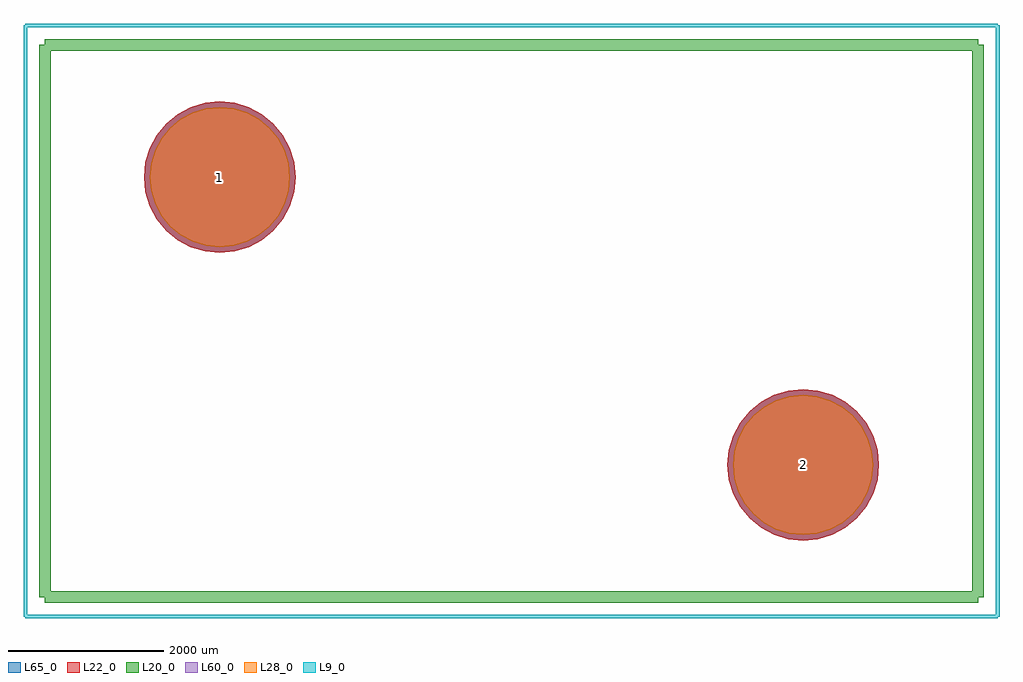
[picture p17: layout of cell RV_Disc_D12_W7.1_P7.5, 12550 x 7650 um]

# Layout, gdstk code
import gdstk
lib = gdstk.Library(unit=1e-6, precision=1e-09)
def P(c, l, *ps):  # polygons
    for p in ps: c.add(gdstk.Polygon(p, *l))
L9_0 = (9, 0)
L20_0 = (20, 0)
L22_0 = (22, 0)
L28_0 = (28, 0)
L60_0 = (60, 0)
L65_0 = (65, 0)

rv_disc_d12_w7_1_p7_5 = lib.new_cell('RV_Disc_D12_W7.1_P7.5')
P(rv_disc_d12_w7_1_p7_5, L22_0, [(8475,-3700),(8456.266,-3509.787),(8400.783,-3326.884),(8310.683,-3158.319),(8189.429,-3010.571),(8041.681,-2889.317),(7873.116,-2799.217),(7690.213,-2743.734),(7500,-2725),(7309.787,-2743.734),(7126.884,-2799.217),(6958.319,-2889.317),(6810.571,-3010.571),(6689.317,-3158.319),(6599.217,-3326.884),(6543.734,-3509.787),(6525,-3700),(6543.734,-3890.213),(6599.217,-4073.116),(6689.317,-4241.681),(6810.571,-4389.429),(6958.319,-4510.683),(7126.884,-4600.783),(7309.787,-4656.266),(7500,-4675),(7690.213,-4656.266),(7873.116,-4600.783),(8041.681,-4510.683),(8189.429,-4389.429),(8310.683,-4241.681),(8400.783,-4073.116),(8456.266,-3890.213)],
  [(975,0),(956.266,190.213),(900.783,373.116),(810.683,541.681),(689.429,689.429),(541.681,810.683),(373.116,900.783),(190.213,956.266),(0,975),(-190.213,956.266),(-373.116,900.783),(-541.681,810.683),(-689.429,689.429),(-810.683,541.681),(-900.783,373.116),(-956.266,190.213),(-975,0),(-956.266,-190.213),(-900.783,-373.116),(-810.683,-541.681),(-689.429,-689.429),(-541.681,-810.683),(-373.116,-900.783),(-190.213,-956.266),(0,-975),(190.213,-956.266),(373.116,-900.783),(541.681,-810.683),(689.429,-689.429),(810.683,-541.681),(900.783,-373.116),(956.266,-190.213)])
P(rv_disc_d12_w7_1_p7_5, L28_0, [(8400,-3700),(8382.707,-3524.419),(8331.492,-3355.585),(8248.323,-3199.987),(8136.396,-3063.604),(8000.013,-2951.677),(7844.415,-2868.508),(7675.581,-2817.293),(7500,-2800),(7324.419,-2817.293),(7155.585,-2868.508),(6999.987,-2951.677),(6863.604,-3063.604),(6751.677,-3199.987),(6668.508,-3355.585),(6617.293,-3524.419),(6600,-3700),(6617.293,-3875.581),(6668.508,-4044.415),(6751.677,-4200.013),(6863.604,-4336.396),(6999.987,-4448.323),(7155.585,-4531.492),(7324.419,-4582.707),(7500,-4600),(7675.581,-4582.707),(7844.415,-4531.492),(8000.013,-4448.323),(8136.396,-4336.396),(8248.323,-4200.013),(8331.492,-4044.415),(8382.707,-3875.581)],
  [(900,0),(882.707,175.581),(831.492,344.415),(748.323,500.013),(636.396,636.396),(500.013,748.323),(344.415,831.492),(175.581,882.707),(0,900),(-175.581,882.707),(-344.415,831.492),(-500.013,748.323),(-636.396,636.396),(-748.323,500.013),(-831.492,344.415),(-882.707,175.581),(-900,0),(-882.707,-175.581),(-831.492,-344.415),(-748.323,-500.013),(-636.396,-636.396),(-500.013,-748.323),(-344.415,-831.492),(-175.581,-882.707),(0,-900),(175.581,-882.707),(344.415,-831.492),(500.013,-748.323),(636.396,-636.396),(748.323,-500.013),(831.492,-344.415),(882.707,-175.581)])
P(rv_disc_d12_w7_1_p7_5, L60_0, [(8400,-3700),(8382.707,-3524.419),(8331.492,-3355.585),(8248.323,-3199.987),(8136.396,-3063.604),(8000.013,-2951.677),(7844.415,-2868.508),(7675.581,-2817.293),(7500,-2800),(7324.419,-2817.293),(7155.585,-2868.508),(6999.987,-2951.677),(6863.604,-3063.604),(6751.677,-3199.987),(6668.508,-3355.585),(6617.293,-3524.419),(6600,-3700),(6617.293,-3875.581),(6668.508,-4044.415),(6751.677,-4200.013),(6863.604,-4336.396),(6999.987,-4448.323),(7155.585,-4531.492),(7324.419,-4582.707),(7500,-4600),(7675.581,-4582.707),(7844.415,-4531.492),(8000.013,-4448.323),(8136.396,-4336.396),(8248.323,-4200.013),(8331.492,-4044.415),(8382.707,-3875.581)],
  [(900,0),(882.707,175.581),(831.492,344.415),(748.323,500.013),(636.396,636.396),(500.013,748.323),(344.415,831.492),(175.581,882.707),(0,900),(-175.581,882.707),(-344.415,831.492),(-500.013,748.323),(-636.396,636.396),(-748.323,500.013),(-831.492,344.415),(-882.707,175.581),(-900,0),(-882.707,-175.581),(-831.492,-344.415),(-748.323,-500.013),(-636.396,-636.396),(-500.013,-748.323),(-344.415,-831.492),(-175.581,-882.707),(0,-900),(175.581,-882.707),(344.415,-831.492),(500.013,-748.323),(636.396,-636.396),(748.323,-500.013),(831.492,-344.415),(882.707,-175.581)])
P(rv_disc_d12_w7_1_p7_5, L65_0, [(8475,-3700),(8456.266,-3509.787),(8400.783,-3326.884),(8310.683,-3158.319),(8189.429,-3010.571),(8041.681,-2889.317),(7873.116,-2799.217),(7690.213,-2743.734),(7500,-2725),(7309.787,-2743.734),(7126.884,-2799.217),(6958.319,-2889.317),(6810.571,-3010.571),(6689.317,-3158.319),(6599.217,-3326.884),(6543.734,-3509.787),(6525,-3700),(6543.734,-3890.213),(6599.217,-4073.116),(6689.317,-4241.681),(6810.571,-4389.429),(6958.319,-4510.683),(7126.884,-4600.783),(7309.787,-4656.266),(7500,-4675),(7690.213,-4656.266),(7873.116,-4600.783),(8041.681,-4510.683),(8189.429,-4389.429),(8310.683,-4241.681),(8400.783,-4073.116),(8456.266,-3890.213)],
  [(975,0),(956.266,190.213),(900.783,373.116),(810.683,541.681),(689.429,689.429),(541.681,810.683),(373.116,900.783),(190.213,956.266),(0,975),(-190.213,956.266),(-373.116,900.783),(-541.681,810.683),(-689.429,689.429),(-810.683,541.681),(-900.783,373.116),(-956.266,190.213),(-975,0),(-956.266,-190.213),(-900.783,-373.116),(-810.683,-541.681),(-689.429,-689.429),(-541.681,-810.683),(-373.116,-900.783),(-190.213,-956.266),(0,-975),(190.213,-956.266),(373.116,-900.783),(541.681,-810.683),(689.429,-689.429),(810.683,-541.681),(900.783,-373.116),(956.266,-190.213)])
rv_disc_d12_w7_1_p7_5.add(gdstk.FlexPath([(-2250,1700),(-2250,-5400)], 149.998, ends="flush", simple_path=True, layer=20, datatype=0))  # L20_0
rv_disc_d12_w7_1_p7_5.add(gdstk.FlexPath([(9750,1700),(9750,-5400)], 149.998, ends="flush", simple_path=True, layer=20, datatype=0))  # L20_0
rv_disc_d12_w7_1_p7_5.add(gdstk.FlexPath([(-2250,1700),(9750,1700)], 149.998, ends="flush", simple_path=True, layer=20, datatype=0))  # L20_0
rv_disc_d12_w7_1_p7_5.add(gdstk.FlexPath([(-2250,-5400),(9750,-5400)], 149.998, ends="flush", simple_path=True, layer=20, datatype=0))  # L20_0
rv_disc_d12_w7_1_p7_5.add(gdstk.FlexPath([(-2500,1950),(-2500,-5650)], 50, ends="flush", simple_path=True, layer=9, datatype=0))  # L9_0
rv_disc_d12_w7_1_p7_5.add(gdstk.FlexPath([(10000,1950),(10000,-5650)], 50, ends="flush", simple_path=True, layer=9, datatype=0))  # L9_0
rv_disc_d12_w7_1_p7_5.add(gdstk.FlexPath([(-2500,1950),(10000,1950)], 50, ends="flush", simple_path=True, layer=9, datatype=0))  # L9_0
rv_disc_d12_w7_1_p7_5.add(gdstk.FlexPath([(-2500,-5650),(10000,-5650)], 50, ends="flush", simple_path=True, layer=9, datatype=0))  # L9_0
rv_disc_d12_w7_1_p7_5.add(gdstk.Label('2', (7500,-3700), layer=28, texttype=0))
rv_disc_d12_w7_1_p7_5.add(gdstk.Label('1', (0,0), layer=28, texttype=0))
rv_disc_d12_w7_1_p7_5.add(gdstk.Label('type', (3750,2700), layer=9, texttype=0))
rv_disc_d12_w7_1_p7_5.add(gdstk.Label('devicename', (3750,-6400), layer=9, texttype=0))

lib.write_gds('RV_Disc_D12_W7.1_P7.5.gds')
